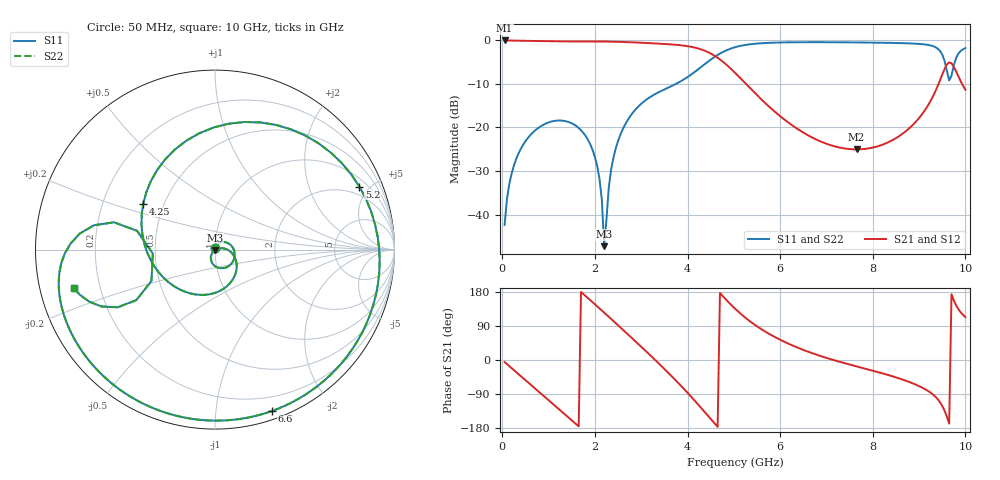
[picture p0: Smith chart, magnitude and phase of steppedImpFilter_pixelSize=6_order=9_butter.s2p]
! freq	dB(S11)	phase(S11)	dB(S12)	phase(S12)
!  dB(S21)	phase(S21)	dB(S22)	phase(S22)
!S-par simulation data
#  GHz  S  DB  R 50
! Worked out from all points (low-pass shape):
!   200 points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, 50 MHz to 10 GHz, reference 50 ohm
!   highest |S21| = -0.01 dB at 50 MHz (marker M1); lowest = -25.0 dB at 7.65 GHz (marker M2)
!   |S21| within 3 dB of the highest: start of sweep to 4.501 GHz
!   lowest |S11| = -47.3 dB at 2.2 GHz (marker M3), VSWR 1.01, Z = 49.9 - j0.428 ohm
!   |S11| at or under -10 dB: start of sweep to 3.747 GHz
!   |S22| runs from -47.2 to -0.4 dB; largest |S21 - S12| = 0
!   S11 on the Smith chart (normalised r, x): 50 MHz: 1.00, +0.02; 4.25 GHz: 0.38, +0.25; 5.2 GHz: 1.42, +4.35; 6.6 GHz: 0.07, -1.41; 10 GHz: 0.10, -0.13
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0.05  -42.36 79.0  -0.01 -5.4  -0.01 -5.4  -42.19 76.9
0.3  -27.24 56.6  -0.06 -32.0  -0.06 -32.0  -27.16 56.3
0.9  -19.30 -5.3  -0.17 -95.5  -0.17 -95.5  -19.30 -5.4
1.75  -21.23 -94.4  -0.25 174.1  -0.25 174.1  -21.23 -94.4
2.05  -28.90 -124.4  -0.26 141.5  -0.26 141.5  -28.91 -124.3
2.2  -47.26 -98.7  -0.27 125.0  -0.27 125.0  -47.21 -97.5
2.5  -23.09 -0.5  -0.33 91.6  -0.33 91.6  -23.09 -0.5
3  -14.55 -55.6  -0.53 34.9  -0.53 34.9  -14.55 -55.7
3.4  -11.78 -102.2  -0.76 -11.6  -0.76 -11.6  -11.78 -102.2
3.85  -9.41 -158.2  -1.12 -66.8  -1.12 -66.8  -9.41 -158.2
4.25  -6.47 147.3  -1.91 -120.2  -1.91 -120.2  -6.47 147.3
4.6  -3.68 97.5  -3.63 -169.4  -3.63 -169.4  -3.68 97.6
5.05  -1.49 39.7  -7.69 132.7  -7.69 132.7  -1.49 39.7
5.2  -1.13 23.5  -9.32 116.5  -9.32 116.5  -1.13 23.6
6.6  -0.41 -70.6  -21.78 22.0  -21.78 22.0  -0.41 -70.6
6.7  -0.41 -75.1  -22.34 17.6  -22.34 17.6  -0.41 -75.1
7.65  -0.46 -112.1  -25.03 -16.8  -25.03 -16.8  -0.46 -112.1
8.35  -0.56 -135.9  -23.32 -40.2  -23.32 -40.2  -0.56 -135.9
9.25  -1.16 -171.9  -13.86 -86.3  -13.86 -86.3  -1.16 -171.9
9.55  -4.69 164.9  -6.58 -133.8  -6.58 -133.8  -4.69 164.9
9.7  -8.07 -153.7  -5.26 173.6  -5.26 173.6  -8.07 -153.7
10  -1.77 -164.8  -11.33 113.2  -11.33 113.2  -1.77 -164.8
